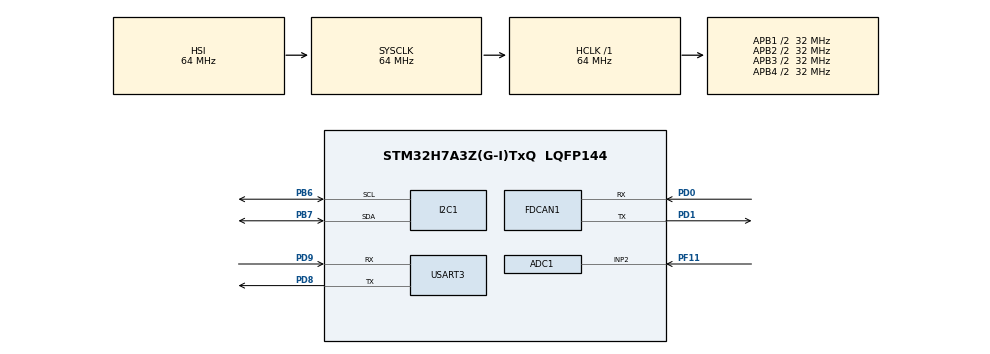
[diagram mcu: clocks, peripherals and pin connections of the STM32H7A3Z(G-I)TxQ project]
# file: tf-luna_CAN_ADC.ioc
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ADC1.Channel-0\#ChannelRegularConversion=ADC_CHANNEL_2
ADC1.NbrOfConversionFlag=1
ADC1.OffsetNumber-0\#ChannelRegularConversion=ADC_OFFSET_NONE
ADC1.OffsetSignedSaturation-0\#ChannelRegularConversion=DISABLE
ADC1.Rank-0\#ChannelRegularConversion=1
ADC1.SamplingTime-0\#ChannelRegularConversion=ADC_SAMPLETIME_1CYCLE_5
ADC1.master=1
FDCAN1.AutoRetransmission=ENABLE
FDCAN1.DataSyncJumpWidth=4
FDCAN1.DataTimeSeg1=5
FDCAN1.DataTimeSeg2=4
FDCAN1.FrameFormat=FDCAN_FRAME_FD_NO_BRS
FDCAN1.NominalTimeSeg1=5
FDCAN1.RxBuffersNbr=1
FDCAN1.RxFifo0ElmtsNbr=1
FDCAN1.StdFiltersNbr=1
I2C1.Timing=0x00707CBB
Mcu.Family=STM32H7
Mcu.Name=STM32H7A3Z(G-I)TxQ
Mcu.Package=LQFP144
NVIC.PriorityGroup=NVIC_PRIORITYGROUP_4
PB6.Mode=I2C
PB6.Signal=I2C1_SCL
PB7.Mode=I2C
PB7.Signal=I2C1_SDA
PD0.Mode=FDCAN_Activate
PD0.Signal=FDCAN1_RX
PD1.Mode=FDCAN_Activate
PD1.Signal=FDCAN1_TX
PD8.Mode=Asynchronous
PD8.Signal=USART3_TX
PD9.Mode=Asynchronous
PD9.Signal=USART3_RX
PF11.Mode=IN2-Single-Ended
PF11.Signal=ADC1_INP2
PH0-OSC_IN.Mode=HSE-External-Oscillator
PH0-OSC_IN.Signal=RCC_OSC_IN
PH1-OSC_OUT.Mode=HSE-External-Oscillator
PH1-OSC_OUT.Signal=RCC_OSC_OUT
ProjectManager.HeapSize=0x200
ProjectManager.StackSize=0x400
ProjectManager.TargetToolchain=STM32CubeIDE
RCC.ADCFreq_Value=129000000
RCC.APB1Freq_Value=32000000
RCC.APB2Freq_Value=32000000
RCC.APB3Freq_Value=32000000
RCC.APB4Freq_Value=32000000
RCC.CDPPRE=RCC_APB3_DIV2
RCC.CDPPRE1=RCC_APB1_DIV2
RCC.CDPPRE2=RCC_APB2_DIV2
RCC.CortexFreq_Value=64000000
RCC.DIVM1=4
RCC.DIVN1=8
RCC.DIVQ1=32
RCC.HCLKFreq_Value=64000000
RCC.SRDPPRE=RCC_APB4_DIV2
RCC.SYSCLKFreq_VALUE=64000000
RCC.USBFreq_Value=4000000
USART3.VirtualMode-Asynchronous=VM_ASYNC
board=custom

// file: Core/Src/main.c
/* USER CODE BEGIN Header */
/**
  ******************************************************************************
  * @file           : main.c
  * @brief          : Main program body
  ******************************************************************************
  * @attention
  *
  * Copyright (c) 2023 STMicroelectronics.
  * All rights reserved.
  *
  * This software is licensed under terms that can be found in the LICENSE file
  * in the root directory of this software component.
  * If no LICENSE file comes with this software, it is provided AS-IS.
  *
  ******************************************************************************
  */
/* USER CODE END Header */
#include "main.h"
#include "adc.h"
#include "fdcan.h"
#include "i2c.h"
#include "usart.h"
#include "gpio.h"

/* USER CODE BEGIN Includes */
#include "tfluna_i2c.h"
#include "stdio.h"
#include <stdbool.h>
/* USER CODE END Includes */

/* USER CODE BEGIN PTD */
uint16_t adc1;
/* USER CODE END PTD */

/* USER CODE BEGIN PM */
#ifdef __GNUC__
#define PUTCHAR_PROTOTYPE int __io_putchar(int ch)
#else
#define PUTCHAR_PROTOTYPE int fputc(int ch, FILE *f)
#endif

PUTCHAR_PROTOTYPE{
   HAL_UART_Transmit(&huart3, (uint8_t*)&ch, 1, 0xFFFF);
   return ch;
}
/* USER CODE END PM */

/* USER CODE BEGIN PV */
FDCAN_FilterTypeDef sFilterConfig;
/* USER CODE END PV */

void SystemClock_Config(void);

/* USER CODE BEGIN 0 */
FDCAN_FilterTypeDef sFilterConfig;
   FDCAN_TxHeaderTypeDef TxHeader;
   FDCAN_RxHeaderTypeDef RxHeader;
   uint8_t TxData_Node1_To_Node3[8];
   uint8_t TxData_Node3_To_Node2[8];
   uint8_t RxData_From_Node2[8];
   uint8_t RxData_From_Node3[8];

//int _write(int file, char *ptr, int len)
//{
//  /* Implement your write code here, this is used by puts and printf for example */
//  int i=0;
//  for(i=0 ; i<len ; i++)
//    ITM_SendChar((*ptr++));
//  return len;
//}

int _write(int file, unsigned char * p, int len){
	HAL_UART_Transmit(&huart3, p, len, 10);
	return len;
}

TF_Luna_Lidar TF_Luna_1;

int16_t  tfAddr = TFL_DEF_ADR;    // default I2C address
uint16_t tfFrame = TFL_DEF_FPS;   // default frame rate
int16_t  tfDist = 0 ;   // distance in centimeters

/* multi devices example:
 * Maybe 5 devices
 * int16_t tfDist[5]=0;
 *
 *
 *You should define other variables this way as well.
 *Example : tfFlux[5]=0;
 */

int16_t  tfFlux = 0 ;   // signal quality in arbitrary units
int16_t  tfTemp = 0 ;   // temperature in 0.01 degree Celsius

// other device variables
uint16_t tfTime = 0;    // devie clock in milliseconds

uint8_t  tfVer[3];      // device version number
/*multi devices example:
 * uint8_t  tfVer1[3];
 * uint8_t  tfVer2[3];
 * uint8_t  tfVer3[3];
 * uint8_t  tfVer4[3];
 */

uint8_t  tfCode[14];    // device serial number

// sub-loop counter for Time display
uint8_t tfCount = 0;

// FDCAN1 Callback
//void HAL_FDCAN_RxFifo0Callback(FDCAN_HandleTypeDef *hfdcan, uint32_t RxFifo0ITs)
//{
//
//  if((RxFifo0ITs & FDCAN_IT_RX_FIFO0_NEW_MESSAGE) != RESET)
//  {
//    /* Retreive Rx messages from RX FIFO0 */
//    if (HAL_FDCAN_GetRxMessage(hfdcan, FDCAN_RX_FIFO0, &RxHeader1, RxData_From_Node1) != HAL_OK)
//    {
//    /* Reception Error */
//    Error_Handler();
//    }
//
//    if (HAL_FDCAN_ActivateNotification(hfdcan, FDCAN_IT_RX_FIFO0_NEW_MESSAGE, 0) != HAL_OK)
//    {
//      /* Notification Error */
//      Error_Handler();
//    }
//  }
//}
void HAL_FDCAN_RxFifo0Callback(FDCAN_HandleTypeDef *hfdcan, uint32_t RxFifo0ITs)
{
//    printf("%s\r\n",);

//    HAL_Delay (1000);
   if(FDCAN1 == hfdcan->Instance){
  if((RxFifo0ITs & FDCAN_IT_RX_FIFO0_NEW_MESSAGE) != RESET)
  {

//       HAL_Delay (1000);
    /* Retreive Rx messages from RX FIFO0 */
     //?  기서?    ?????? ? RX FIFO0?   ?  ?   ?   ?????? ?? RxHeader ??????? 복사?   ??????? ?  ?  ?   ??????? RxData 배열 ??????? 복사?  ?  ?  .
    if (HAL_FDCAN_GetRxMessage(hfdcan, FDCAN_RX_FIFO0, &RxHeader, RxData_From_Node3) != HAL_OK)
    {
    /* Reception Error */
    Error_Handler();
    }
   }
   }

}
/* USER CODE END 0 */

int main(void)
{
  /* USER CODE BEGIN 1 */
	HAL_StatusTypeDef HAL_ADC_Start(ADC_HandleTypeDef* hadc);
		HAL_StatusTypeDef HAL_ADC_PollForConversion(ADC_HandleTypeDef* hadc, uint32_t Timeout);
  /* USER CODE END 1 */

  /* MCU Configuration--------------------------------------------------------*/

  /* Reset of all peripherals, Initializes the Flash interface and the Systick. */
  HAL_Init();

  /* USER CODE BEGIN Init */
  TF_Luna_init(&TF_Luna_1, &hi2c1, 0x10);
  /* USER CODE END Init */

  /* Configure the system clock */
  SystemClock_Config();

  /* Initialize all configured peripherals */
  MX_GPIO_Init();
  MX_I2C1_Init();
  MX_USART3_UART_Init();
  MX_FDCAN1_Init();
  MX_ADC1_Init();
  /* USER CODE BEGIN 2 */

    /* multi devices example:
     *   If you want to connect more than one device,
     *   you must first connect them one by one and change their slave addresses.
     *   Each device must have a different address.
     *
     *   TF_Luna_init(&TF_Luna_2, &hi2c1, 0x11); // random address.
     *   TF_Luna_init(&TF_Luna_3, &hi2c1, 0x12);
     *   TF_Luna_init(&TF_Luna_4, &hi2c1, 0x13);
     *   TF_Luna_init(&TF_Luna_5, &hi2c1, 0x14);
     */

        Get_Frame_Rate( &TF_Luna_1,&tfFrame);
        Get_Firmware_Version(&TF_Luna_1, tfVer);
        Get_Prod_Code(&TF_Luna_1, tfCode);
        Get_Time(&TF_Luna_1, &tfTime);
  /* USER CODE END 2 */

  /* Infinite loop */
  /* USER CODE BEGIN WHILE */
  while (1)
  {
	  HAL_ADC_Start(&hadc1);
	  	  			  HAL_ADC_PollForConversion(&hadc1, 10);
	  	  			  adc1 = HAL_ADC_GetValue(&hadc1);
	  int adc;
	  if(adc1 > 30000)
	  	  {
	  	  	 adc = 1;
	  	  }
	  	  if(adc1 < 30000)
	  	  {
	  	  	adc = 2;
	  	  }
	  getData(&TF_Luna_1, &tfDist, &tfFlux, &tfTemp);
//	  printDataArray();
//	  printf("%d",tfDist); // Open your SVW ITM Data Console
	  	  HAL_Delay(100); // 250Hz
	  	sprintf ((char *)TxData_Node1_To_Node3, "1111" );
//	  	"%d",tfDist
	  		  if (HAL_FDCAN_AddMessageToTxFifoQ(&hfdcan1, &TxHeader, TxData_Node1_To_Node3)!= HAL_OK)
	  		              {
//	  		                 Error_Handler();
	  		                }
	  		HAL_Delay(100);
//	  		     HAL_Delay (100);

    /* USER CODE END WHILE */

  }
}

void SystemClock_Config(void)
{
  RCC_OscInitTypeDef RCC_OscInitStruct = {0};
  RCC_ClkInitTypeDef RCC_ClkInitStruct = {0};

  /** Supply configuration update enable
  */
  HAL_PWREx_ConfigSupply(PWR_DIRECT_SMPS_SUPPLY);
  /** Configure the main internal regulator output voltage
  */
  __HAL_PWR_VOLTAGESCALING_CONFIG(PWR_REGULATOR_VOLTAGE_SCALE3);

  while(!__HAL_PWR_GET_FLAG(PWR_FLAG_VOSRDY)) {}
  /** Macro to configure the PLL clock source
  */
  __HAL_RCC_PLL_PLLSOURCE_CONFIG(RCC_PLLSOURCE_HSI);
  /** Initializes the RCC Oscillators according to the specified parameters
  * in the RCC_OscInitTypeDef structure.
  */
  RCC_OscInitStruct.OscillatorType = RCC_OSCILLATORTYPE_HSI;
  RCC_OscInitStruct.HSIState = RCC_HSI_DIV1;
  RCC_OscInitStruct.HSICalibrationValue = RCC_HSICALIBRATION_DEFAULT;
  RCC_OscInitStruct.PLL.PLLState = RCC_PLL_ON;
  RCC_OscInitStruct.PLL.PLLSource = RCC_PLLSOURCE_HSI;
  RCC_OscInitStruct.PLL.PLLM = 4;
  RCC_OscInitStruct.PLL.PLLN = 8;
  RCC_OscInitStruct.PLL.PLLP = 2;
  RCC_OscInitStruct.PLL.PLLQ = 32;
  RCC_OscInitStruct.PLL.PLLR = 2;
  RCC_OscInitStruct.PLL.PLLRGE = RCC_PLL1VCIRANGE_3;
  RCC_OscInitStruct.PLL.PLLVCOSEL = RCC_PLL1VCOWIDE;
  RCC_OscInitStruct.PLL.PLLFRACN = 0;
  if (HAL_RCC_OscConfig(&RCC_OscInitStruct) != HAL_OK)
  {
    Error_Handler();
  }
  /** Initializes the CPU, AHB and APB buses clocks
  */
  RCC_ClkInitStruct.ClockType = RCC_CLOCKTYPE_HCLK|RCC_CLOCKTYPE_SYSCLK
                              |RCC_CLOCKTYPE_PCLK1|RCC_CLOCKTYPE_PCLK2
                              |RCC_CLOCKTYPE_D3PCLK1|RCC_CLOCKTYPE_D1PCLK1;
  RCC_ClkInitStruct.SYSCLKSource = RCC_SYSCLKSOURCE_HSI;
  RCC_ClkInitStruct.SYSCLKDivider = RCC_SYSCLK_DIV1;
  RCC_ClkInitStruct.AHBCLKDivider = RCC_HCLK_DIV1;
  RCC_ClkInitStruct.APB3CLKDivider = RCC_APB3_DIV2;
  RCC_ClkInitStruct.APB1CLKDivider = RCC_APB1_DIV2;
  RCC_ClkInitStruct.APB2CLKDivider = RCC_APB2_DIV2;
  RCC_ClkInitStruct.APB4CLKDivider = RCC_APB4_DIV2;

  if (HAL_RCC_ClockConfig(&RCC_ClkInitStruct, FLASH_LATENCY_2) != HAL_OK)
  {
    Error_Handler();
  }
}

void Error_Handler(void)
{
  __disable_irq();
  while (1)
  {
  }
}
